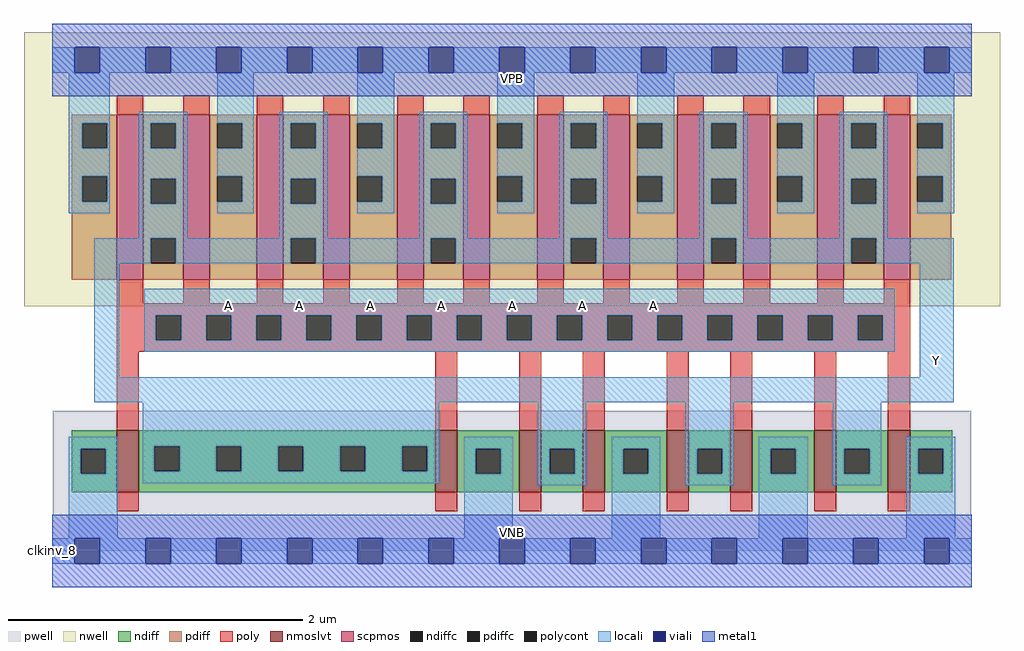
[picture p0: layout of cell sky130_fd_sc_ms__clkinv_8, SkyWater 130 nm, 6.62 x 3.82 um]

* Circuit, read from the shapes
.subckt sky130_fd_sc_ms__clkinv_8 A VGND VNB VPB VPWR Y
XM1 Y A VGND VNB sky130_fd_pr__nfet_01v8_lvt w=0.42 l=0.15 m=8
XM2 Y A VPWR VPB sky130_fd_pr__pfet_01v8 w=1.12 l=0.18 m=12
.ends

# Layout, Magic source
magic
tech sky130A
magscale 1 2
<< nwell >>
rect -38 332 1286 704
<< pwell >>
rect 1 49 1247 190
rect 0 0 1248 49
<< scpmos >>
rect 88 368 124 592
rect 178 368 214 592
rect 278 368 314 592
rect 368 368 404 592
rect 468 368 504 592
rect 558 368 594 592
rect 658 368 694 592
rect 748 368 784 592
rect 848 368 884 592
rect 938 368 974 592
rect 1038 368 1074 592
rect 1128 368 1164 592
<< nmoslvt >>
rect 88 80 118 164
rect 520 80 550 164
rect 634 80 664 164
rect 720 80 750 164
rect 834 80 864 164
rect 920 80 950 164
rect 1034 80 1064 164
rect 1134 80 1164 164
<< ndiff >>
rect 27 139 88 164
rect 27 105 39 139
rect 73 105 88 139
rect 27 80 88 105
rect 118 142 520 164
rect 118 108 139 142
rect 173 108 223 142
rect 257 108 307 142
rect 341 108 391 142
rect 425 108 475 142
rect 509 108 520 142
rect 118 80 520 108
rect 550 139 634 164
rect 550 105 575 139
rect 609 105 634 139
rect 550 80 634 105
rect 664 139 720 164
rect 664 105 675 139
rect 709 105 720 139
rect 664 80 720 105
rect 750 139 834 164
rect 750 105 775 139
rect 809 105 834 139
rect 750 80 834 105
rect 864 139 920 164
rect 864 105 875 139
rect 909 105 920 139
rect 864 80 920 105
rect 950 139 1034 164
rect 950 105 975 139
rect 1009 105 1034 139
rect 950 80 1034 105
rect 1064 139 1134 164
rect 1064 105 1075 139
rect 1109 105 1134 139
rect 1064 80 1134 105
rect 1164 139 1221 164
rect 1164 105 1175 139
rect 1209 105 1221 139
rect 1164 80 1221 105
<< pdiff >>
rect 27 580 88 592
rect 27 546 41 580
rect 75 546 88 580
rect 27 508 88 546
rect 27 474 41 508
rect 75 474 88 508
rect 27 368 88 474
rect 124 580 178 592
rect 124 546 134 580
rect 168 546 178 580
rect 124 505 178 546
rect 124 471 134 505
rect 168 471 178 505
rect 124 424 178 471
rect 124 390 134 424
rect 168 390 178 424
rect 124 368 178 390
rect 214 580 278 592
rect 214 546 224 580
rect 258 546 278 580
rect 214 508 278 546
rect 214 474 224 508
rect 258 474 278 508
rect 214 368 278 474
rect 314 580 368 592
rect 314 546 324 580
rect 358 546 368 580
rect 314 505 368 546
rect 314 471 324 505
rect 358 471 368 505
rect 314 424 368 471
rect 314 390 324 424
rect 358 390 368 424
rect 314 368 368 390
rect 404 580 468 592
rect 404 546 414 580
rect 448 546 468 580
rect 404 508 468 546
rect 404 474 414 508
rect 448 474 468 508
rect 404 368 468 474
rect 504 580 558 592
rect 504 546 514 580
rect 548 546 558 580
rect 504 505 558 546
rect 504 471 514 505
rect 548 471 558 505
rect 504 424 558 471
rect 504 390 514 424
rect 548 390 558 424
rect 504 368 558 390
rect 594 580 658 592
rect 594 546 604 580
rect 638 546 658 580
rect 594 508 658 546
rect 594 474 604 508
rect 638 474 658 508
rect 594 368 658 474
rect 694 580 748 592
rect 694 546 704 580
rect 738 546 748 580
rect 694 505 748 546
rect 694 471 704 505
rect 738 471 748 505
rect 694 424 748 471
rect 694 390 704 424
rect 738 390 748 424
rect 694 368 748 390
rect 784 580 848 592
rect 784 546 794 580
rect 828 546 848 580
rect 784 508 848 546
rect 784 474 794 508
rect 828 474 848 508
rect 784 368 848 474
rect 884 580 938 592
rect 884 546 894 580
rect 928 546 938 580
rect 884 505 938 546
rect 884 471 894 505
rect 928 471 938 505
rect 884 424 938 471
rect 884 390 894 424
rect 928 390 938 424
rect 884 368 938 390
rect 974 580 1038 592
rect 974 546 984 580
rect 1018 546 1038 580
rect 974 508 1038 546
rect 974 474 984 508
rect 1018 474 1038 508
rect 974 368 1038 474
rect 1074 580 1128 592
rect 1074 546 1084 580
rect 1118 546 1128 580
rect 1074 505 1128 546
rect 1074 471 1084 505
rect 1118 471 1128 505
rect 1074 424 1128 471
rect 1074 390 1084 424
rect 1118 390 1128 424
rect 1074 368 1128 390
rect 1164 580 1220 592
rect 1164 546 1174 580
rect 1208 546 1220 580
rect 1164 508 1220 546
rect 1164 474 1174 508
rect 1208 474 1220 508
rect 1164 368 1220 474
<< ndiffc >>
rect 39 105 73 139
rect 139 108 173 142
rect 223 108 257 142
rect 307 108 341 142
rect 391 108 425 142
rect 475 108 509 142
rect 575 105 609 139
rect 675 105 709 139
rect 775 105 809 139
rect 875 105 909 139
rect 975 105 1009 139
rect 1075 105 1109 139
rect 1175 105 1209 139
<< pdiffc >>
rect 41 546 75 580
rect 41 474 75 508
rect 134 546 168 580
rect 134 471 168 505
rect 134 390 168 424
rect 224 546 258 580
rect 224 474 258 508
rect 324 546 358 580
rect 324 471 358 505
rect 324 390 358 424
rect 414 546 448 580
rect 414 474 448 508
rect 514 546 548 580
rect 514 471 548 505
rect 514 390 548 424
rect 604 546 638 580
rect 604 474 638 508
rect 704 546 738 580
rect 704 471 738 505
rect 704 390 738 424
rect 794 546 828 580
rect 794 474 828 508
rect 894 546 928 580
rect 894 471 928 505
rect 894 390 928 424
rect 984 546 1018 580
rect 984 474 1018 508
rect 1084 546 1118 580
rect 1084 471 1118 505
rect 1084 390 1118 424
rect 1174 546 1208 580
rect 1174 474 1208 508
<< poly >>
rect 88 592 124 618
rect 178 592 214 618
rect 278 592 314 618
rect 368 592 404 618
rect 468 592 504 618
rect 558 592 594 618
rect 658 592 694 618
rect 748 592 784 618
rect 848 592 884 618
rect 938 592 974 618
rect 1038 592 1074 618
rect 1128 592 1164 618
rect 88 336 124 368
rect 178 336 214 368
rect 278 336 314 368
rect 368 336 404 368
rect 468 336 504 368
rect 558 336 594 368
rect 658 336 694 368
rect 748 336 784 368
rect 848 336 884 368
rect 938 336 974 368
rect 1038 336 1074 368
rect 1128 336 1164 368
rect 88 320 1164 336
rect 88 286 141 320
rect 175 286 209 320
rect 243 286 277 320
rect 311 286 345 320
rect 379 286 413 320
rect 447 286 481 320
rect 515 286 549 320
rect 583 286 617 320
rect 651 286 685 320
rect 719 286 753 320
rect 787 286 821 320
rect 855 286 889 320
rect 923 286 957 320
rect 991 286 1025 320
rect 1059 286 1093 320
rect 1127 286 1164 320
rect 88 270 1164 286
rect 88 164 118 270
rect 520 164 550 270
rect 634 164 664 270
rect 720 164 750 270
rect 834 164 864 270
rect 920 164 950 270
rect 1034 164 1064 270
rect 1134 164 1164 270
rect 88 54 118 80
rect 520 54 550 80
rect 634 54 664 80
rect 720 54 750 80
rect 834 54 864 80
rect 920 54 950 80
rect 1034 54 1064 80
rect 1134 54 1164 80
<< polycont >>
rect 141 286 175 320
rect 209 286 243 320
rect 277 286 311 320
rect 345 286 379 320
rect 413 286 447 320
rect 481 286 515 320
rect 549 286 583 320
rect 617 286 651 320
rect 685 286 719 320
rect 753 286 787 320
rect 821 286 855 320
rect 889 286 923 320
rect 957 286 991 320
rect 1025 286 1059 320
rect 1093 286 1127 320
<< locali >>
rect 0 649 31 683
rect 65 649 127 683
rect 161 649 223 683
rect 257 649 319 683
rect 353 649 415 683
rect 449 649 511 683
rect 545 649 607 683
rect 641 649 703 683
rect 737 649 799 683
rect 833 649 895 683
rect 929 649 991 683
rect 1025 649 1087 683
rect 1121 649 1183 683
rect 1217 649 1248 683
rect 23 580 78 649
rect 23 546 41 580
rect 75 546 78 580
rect 23 508 78 546
rect 23 474 41 508
rect 75 474 78 508
rect 23 458 78 474
rect 118 580 184 596
rect 118 546 134 580
rect 168 546 184 580
rect 118 505 184 546
rect 118 471 134 505
rect 168 471 184 505
rect 118 424 184 471
rect 224 580 274 649
rect 258 546 274 580
rect 224 508 274 546
rect 258 474 274 508
rect 224 458 274 474
rect 308 580 374 596
rect 308 546 324 580
rect 358 546 374 580
rect 308 505 374 546
rect 308 471 324 505
rect 358 471 374 505
rect 308 424 374 471
rect 414 580 464 649
rect 448 546 464 580
rect 414 508 464 546
rect 448 474 464 508
rect 414 458 464 474
rect 498 580 564 596
rect 498 546 514 580
rect 548 546 564 580
rect 498 505 564 546
rect 498 471 514 505
rect 548 471 564 505
rect 498 424 564 471
rect 604 580 654 649
rect 638 546 654 580
rect 604 508 654 546
rect 638 474 654 508
rect 604 458 654 474
rect 688 580 754 596
rect 688 546 704 580
rect 738 546 754 580
rect 688 505 754 546
rect 688 471 704 505
rect 738 471 754 505
rect 688 424 754 471
rect 794 580 844 649
rect 828 546 844 580
rect 794 508 844 546
rect 828 474 844 508
rect 794 458 844 474
rect 878 580 944 596
rect 878 546 894 580
rect 928 546 944 580
rect 878 505 944 546
rect 878 471 894 505
rect 928 471 944 505
rect 878 424 944 471
rect 984 580 1034 649
rect 1018 546 1034 580
rect 984 508 1034 546
rect 1018 474 1034 508
rect 984 458 1034 474
rect 1068 580 1134 596
rect 1068 546 1084 580
rect 1118 546 1134 580
rect 1068 505 1134 546
rect 1068 471 1084 505
rect 1118 471 1134 505
rect 1068 424 1134 471
rect 1174 580 1224 649
rect 1208 546 1224 580
rect 1174 508 1224 546
rect 1208 474 1224 508
rect 1174 458 1224 474
rect 57 390 134 424
rect 168 390 324 424
rect 358 390 514 424
rect 548 390 704 424
rect 738 390 894 424
rect 928 390 1084 424
rect 1118 390 1223 424
rect 57 236 91 390
rect 125 320 1143 356
rect 125 286 141 320
rect 175 286 209 320
rect 243 286 277 320
rect 311 286 345 320
rect 379 286 413 320
rect 447 286 481 320
rect 515 286 549 320
rect 583 286 617 320
rect 651 286 685 320
rect 719 286 753 320
rect 787 286 821 320
rect 855 286 889 320
rect 923 286 957 320
rect 991 286 1025 320
rect 1059 286 1093 320
rect 1127 286 1143 320
rect 125 270 1143 286
rect 1177 236 1223 390
rect 57 202 1223 236
rect 23 139 89 155
rect 23 105 39 139
rect 73 105 89 139
rect 23 17 89 105
rect 123 142 525 202
rect 123 108 139 142
rect 173 108 223 142
rect 257 108 307 142
rect 341 108 391 142
rect 425 108 475 142
rect 509 108 525 142
rect 123 92 525 108
rect 559 139 625 155
rect 559 105 575 139
rect 609 105 625 139
rect 559 17 625 105
rect 659 139 725 202
rect 659 105 675 139
rect 709 105 725 139
rect 659 89 725 105
rect 759 139 825 155
rect 759 105 775 139
rect 809 105 825 139
rect 759 17 825 105
rect 859 139 925 202
rect 859 105 875 139
rect 909 105 925 139
rect 859 89 925 105
rect 959 139 1025 155
rect 959 105 975 139
rect 1009 105 1025 139
rect 959 17 1025 105
rect 1059 139 1125 202
rect 1059 105 1075 139
rect 1109 105 1125 139
rect 1059 89 1125 105
rect 1159 139 1225 155
rect 1159 105 1175 139
rect 1209 105 1225 139
rect 1159 17 1225 105
rect 0 -17 31 17
rect 65 -17 127 17
rect 161 -17 223 17
rect 257 -17 319 17
rect 353 -17 415 17
rect 449 -17 511 17
rect 545 -17 607 17
rect 641 -17 703 17
rect 737 -17 799 17
rect 833 -17 895 17
rect 929 -17 991 17
rect 1025 -17 1087 17
rect 1121 -17 1183 17
rect 1217 -17 1248 17
<< viali >>
rect 31 649 65 683
rect 127 649 161 683
rect 223 649 257 683
rect 319 649 353 683
rect 415 649 449 683
rect 511 649 545 683
rect 607 649 641 683
rect 703 649 737 683
rect 799 649 833 683
rect 895 649 929 683
rect 991 649 1025 683
rect 1087 649 1121 683
rect 1183 649 1217 683
rect 31 -17 65 17
rect 127 -17 161 17
rect 223 -17 257 17
rect 319 -17 353 17
rect 415 -17 449 17
rect 511 -17 545 17
rect 607 -17 641 17
rect 703 -17 737 17
rect 799 -17 833 17
rect 895 -17 929 17
rect 991 -17 1025 17
rect 1087 -17 1121 17
rect 1183 -17 1217 17
<< metal1 >>
rect 0 683 1248 715
rect 0 649 31 683
rect 65 649 127 683
rect 161 649 223 683
rect 257 649 319 683
rect 353 649 415 683
rect 449 649 511 683
rect 545 649 607 683
rect 641 649 703 683
rect 737 649 799 683
rect 833 649 895 683
rect 929 649 991 683
rect 1025 649 1087 683
rect 1121 649 1183 683
rect 1217 649 1248 683
rect 0 617 1248 649
rect 0 17 1248 49
rect 0 -17 31 17
rect 65 -17 127 17
rect 161 -17 223 17
rect 257 -17 319 17
rect 353 -17 415 17
rect 449 -17 511 17
rect 545 -17 607 17
rect 641 -17 703 17
rect 737 -17 799 17
rect 833 -17 895 17
rect 929 -17 991 17
rect 1025 -17 1087 17
rect 1121 -17 1183 17
rect 1217 -17 1248 17
rect 0 -49 1248 -17
<< labels >>
flabel pwell s 0 0 1248 49 0 FreeSans 200 0 0 0 VNB
port 3 nsew ground bidirectional
flabel nwell s 0 617 1248 666 0 FreeSans 200 0 0 0 VPB
port 4 nsew power bidirectional
rlabel comment s 0 0 0 0 4 clkinv_8
flabel metal1 s 0 617 1248 666 0 FreeSans 340 0 0 0 VPWR
port 5 nsew power bidirectional
flabel metal1 s 0 0 1248 49 0 FreeSans 340 0 0 0 VGND
port 2 nsew ground bidirectional
flabel locali s 223 316 257 350 0 FreeSans 340 0 0 0 A
port 1 nsew signal input
flabel locali s 319 316 353 350 0 FreeSans 340 0 0 0 A
port 1 nsew signal input
flabel locali s 415 316 449 350 0 FreeSans 340 0 0 0 A
port 1 nsew signal input
flabel locali s 511 316 545 350 0 FreeSans 340 0 0 0 A
port 1 nsew signal input
flabel locali s 607 316 641 350 0 FreeSans 340 0 0 0 A
port 1 nsew signal input
flabel locali s 703 316 737 350 0 FreeSans 340 0 0 0 A
port 1 nsew signal input
flabel locali s 799 316 833 350 0 FreeSans 340 0 0 0 A
port 1 nsew signal input
flabel locali s 1183 242 1217 276 0 FreeSans 340 0 0 0 Y
port 6 nsew signal output
<< properties >>
string LEFsite unit
string LEFclass CORE
string FIXED_BBOX 0 0 1248 666
string GDS_FILE $PDKPATH/libs.ref/sky130_fd_sc_ms/gds/sky130_fd_sc_ms.gds
string LEFsymmetry X Y
string GDS_END 2653944
string GDS_START 2644458
<< end >>
